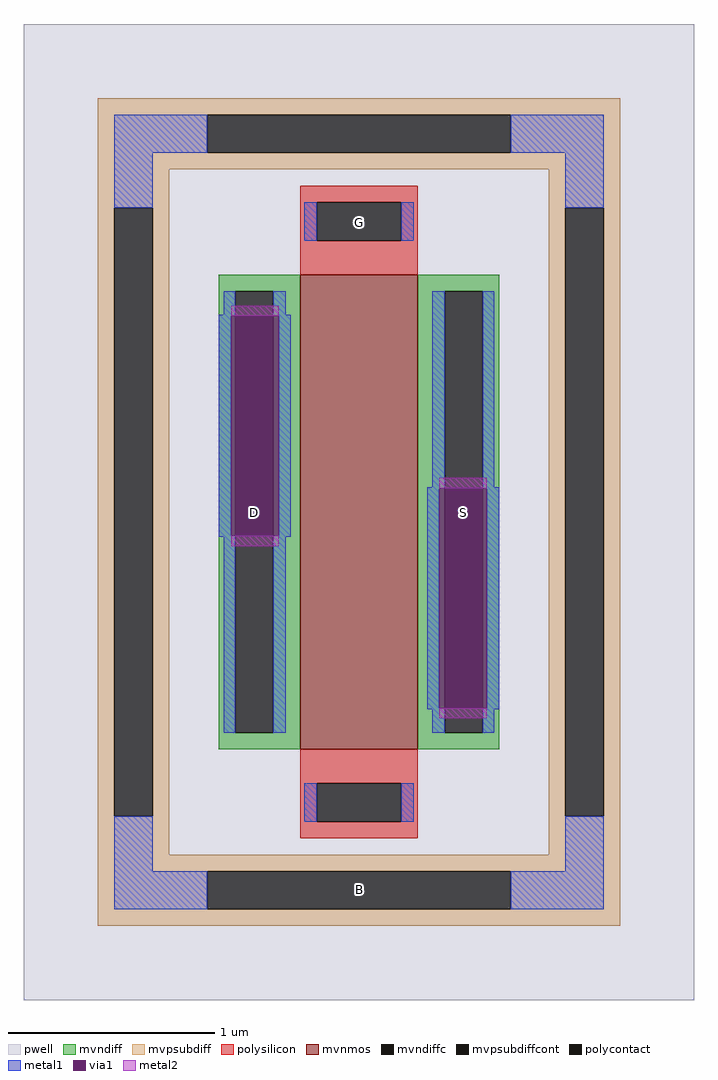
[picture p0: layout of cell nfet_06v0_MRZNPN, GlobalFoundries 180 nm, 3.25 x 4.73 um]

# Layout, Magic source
magic
tech gf180mcuD
magscale 1 10
<< pwell >>
rect -325 -473 325 473
<< mvnmos >>
rect -57 -230 57 230
<< mvndiff >>
rect -136 214 -57 230
rect -136 -214 -120 214
rect -83 -214 -57 214
rect -136 -230 -57 -214
rect 57 214 136 230
rect 57 -214 83 214
rect 120 -214 136 214
rect 57 -230 136 -214
<< mvndiffc >>
rect -120 -214 -83 214
rect 83 -214 120 214
<< mvpsubdiff >>
rect -253 385 253 401
rect -253 348 -147 385
rect 147 348 253 385
rect -253 332 253 348
rect -253 295 -184 332
rect -253 -295 -237 295
rect -200 -295 -184 295
rect 184 295 253 332
rect -253 -332 -184 -295
rect 184 -295 200 295
rect 237 -295 253 295
rect 184 -332 253 -295
rect -253 -348 253 -332
rect -253 -385 -147 -348
rect 147 -385 253 -348
rect -253 -401 253 -385
<< mvpsubdiffcont >>
rect -147 348 147 385
rect -237 -295 -200 295
rect 200 -295 237 295
rect -147 -385 147 -348
<< polysilicon >>
rect -57 300 57 316
rect -57 263 -41 300
rect 41 263 57 300
rect -57 230 57 263
rect -57 -263 57 -230
rect -57 -300 -41 -263
rect 41 -300 57 -263
rect -57 -316 57 -300
<< polycontact >>
rect -41 263 41 300
rect -41 -300 41 -263
<< metal1 >>
rect -237 348 -147 385
rect 147 348 237 385
rect -237 295 -200 348
rect -53 263 -41 300
rect 41 263 53 300
rect 200 295 237 348
rect -131 191 -120 214
rect -136 190 -120 191
rect -83 191 -71 214
rect -83 190 -66 191
rect -136 -23 -124 190
rect -78 -23 -66 190
rect 71 24 83 214
rect -136 -24 -120 -23
rect -131 -214 -120 -24
rect -83 -24 -66 -23
rect 66 23 83 24
rect 120 24 131 214
rect 120 23 136 24
rect -83 -214 -71 -24
rect 66 -190 78 23
rect 124 -190 136 23
rect 66 -191 83 -190
rect 71 -214 83 -191
rect 120 -191 136 -190
rect 120 -214 131 -191
rect -237 -348 -200 -295
rect -53 -300 -41 -263
rect 41 -300 53 -263
rect 200 -348 237 -295
rect -237 -385 -147 -348
rect 147 -385 237 -348
<< via1 >>
rect -124 -23 -120 190
rect -120 -23 -83 190
rect -83 -23 -78 190
rect 78 -190 83 23
rect 83 -190 120 23
rect 120 -190 124 23
<< metal2 >>
rect -124 190 -78 200
rect -124 -33 -78 -23
rect 78 23 124 33
rect 78 -200 124 -190
<< labels >>
rlabel mvpsubdiffcont 0 -366 0 -366 0 B
port 1 nsew
rlabel mvndiffc -101 0 -101 0 0 D
port 2 nsew
rlabel mvndiffc 101 0 101 0 0 S
port 3 nsew
rlabel polycontact 0 281 0 281 0 G
port 4 nsew
<< properties >>
string FIXED_BBOX -219 -366 219 366
string gencell nfet_05v0
string library gf180mcu
string parameters w 2.0 l 0.5 m 1 ng 1 diffcov 100 polycov 100 guard 1 glc 1 grc 1 gtc 1 gbc 1 tbcov 100 rlcov 100 topc 1 botc 1 poverlap 0 doverlap 1 lmin 0.45 wmin 0.15 class mosfet compatible {nfet_05v0 nfet_06v0} full_metal 1 conn_gates 0 gate_ring 0 doports 1 viasrc +50 viadrn -50 viagate 0 ccols 1 viagb 0 viagr 0 viagl 0 viagt 0
<< end >>
